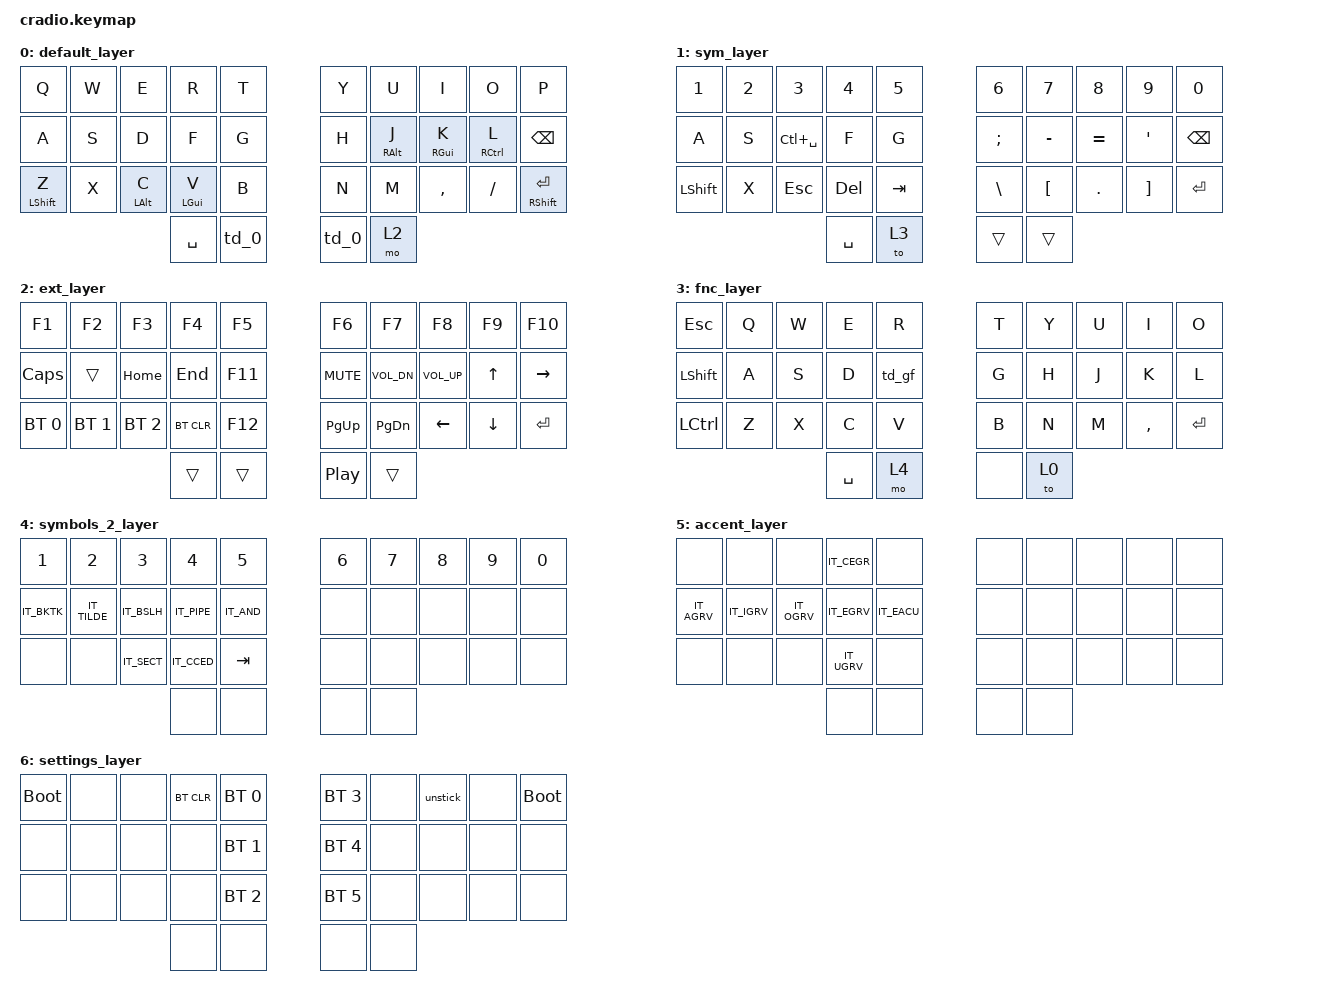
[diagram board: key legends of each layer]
/*
 * Copyright (c) 2020 The ZMK Contributors
 *
 * SPDX-License-Identifier: MIT
 */

#include <behaviors.dtsi>
#include "keymap_italian.h"
#include <dt-bindings/zmk/bt.h>
#include <dt-bindings/zmk/keys.h>

// Layer definitions

#define BASE 0
#define SYM 1
#define EXT 2
#define FNC 3
#define SYM2 4
#define ACCENT 5
#define SETTINGS 6

// -----------------

&mt {
    //  flavor = "tap-preferred";
    // tapping_term_ms = <200>;
};

&sk {
    ignore-modifiers;
};

/ {
    macros {
        // sometimes my device thinks a modifier is being held down
        // pressing all modifiers fixes it.

        unstick: unstick {
            label = "ZM_unstick";
            compatible = "zmk,behavior-macro";
            #binding-cells = <0>;
            bindings = <&kp LSHIFT &kp RSHIFT &kp LCTRL &kp RCTRL &kp LALT &kp RALT &kp LGUI &kp RGUI>;
        };
    };

    combos {
        compatible = "zmk,combos";

        // both right thumb keys
        // internal-left & external-right thumb keys
        // both left thumb keys

        left_1 {
            bindings = <&kp LEFT_BRACKET>;
            key-positions = <2 3>;
            timeout-ms = <30>;
        };

        right_1 {
            bindings = <&kp RBKT>;
            key-positions = <6 7>;
            timeout-ms = <30>;
        };

        left_2 {
            bindings = <&kp LEFT_PARENTHESIS>;
            key-positions = <12 13>;
            timeout-ms = <30>;
        };

        right_2 {
            bindings = <&kp RIGHT_PARENTHESIS>;
            key-positions = <16 17>;
            timeout-ms = <30>;
        };

        left_3 {
            bindings = <&kp LEFT_BRACE>;
            key-positions = <22 23>;
            timeout-ms = <30>;
        };

        right_3 {
            bindings = <&kp RIGHT_BRACE>;
            key-positions = <26 27>;
            timeout-ms = <30>;
        };

        minus {
            bindings = <&kp UNDER>;
            key-positions = <15 17>;
            timeout-ms = <30>;
        };

        lessthan {
            bindings = <&kp LESS_THAN>;
            key-positions = <25 27>;
            timeout-ms = <30>;
        };

        greater {
            bindings = <&kp GREATER_THAN>;
            key-positions = <25 28>;
            timeout-ms = <30>;
        };

        pipe {
            bindings = <&kp PIPE>;
            key-positions = <14 15>;
            timeout-ms = <30>;
        };

        backsplash {
            bindings = <&kp BACKSLASH>;
            key-positions = <4 5>;
            timeout-ms = <30>;
        };

        plus {
            bindings = <&kp PLUS>;
            key-positions = <15 18>;
            timeout-ms = <30>;
        };

        tab {
            bindings = <&kp TAB>;
            key-positions = <10 12 11>;
            timeout-ms = <30>;
        };

        tilde {
            bindings = <&kp TILDE>;
            key-positions = <5 6>;
        };

        grave {
            bindings = <&kp GRAVE>;
            key-positions = <3 4>;
        };

        semi {
            bindings = <&kp SEMI>;
            key-positions = <16 17 18>;
        };

        colon {
            bindings = <&kp COLON>;
            key-positions = <7 8 6>;
        };

        sqt {
            bindings = <&kp SQT>;
            key-positions = <17 18>;
        };

        dqt {
            bindings = <&kp DQT>;
            key-positions = <17 18 26>;
        };

        caps {
            bindings = <&kp CAPSLOCK>;
            key-positions = <11 18>;
        };
    };

    behaviors {
        ht: ht {
            compatible = "zmk,behavior-hold-tap";
            label = "HT";
            bindings = <&kp>, <&kp>;

            #binding-cells = <2>;
            tapping-term-ms = <200>;
            quick-tap-ms = <100>;
            global-quick-tap;
            flavor = "tap-preferred";
        };

        td_0: td_0 {
            compatible = "zmk,behavior-tap-dance";
            label = "TD_0";
            #binding-cells = <0>;
            bindings = <&mo 1>, <&kp LCTRL>, <&mo 3>;
        };

        td_gf: td_gf {
            compatible = "zmk,behavior-tap-dance";
            label = "TD_GF";
            #binding-cells = <0>;
            bindings = <&kp G>, <&kp F>;
        };
    };

    keymap {
        compatible = "zmk,keymap";

        // Base alpha layer

        default_layer {
            bindings = <
&kp Q             &kp W  &kp E           &kp R           &kp T    &kp Y  &kp U            &kp I            &kp O        &kp P
&kp A             &kp S  &kp D           &kp F           &kp G    &kp H  &ht RIGHT_ALT J  &ht RIGHT_GUI K  &ht RCTRL L  &kp BSPC
&ht LEFT_SHIFT Z  &kp X  &ht LEFT_ALT C  &ht LEFT_GUI V  &kp B    &kp N  &kp M            &kp COMMA        &kp FSLH     &ht RIGHT_SHIFT ENTER
                                         &kp SPACE       &td_0    &td_0  &mo 2
            >;
        };

        // Numbers and high frequency symbols

        sym_layer {
            bindings = <
&kp N1     &kp N2  &kp N3         &kp N4     &kp N5     &kp N6    &kp N7     &kp N8     &kp N9    &kp N0
&kp A      &kp S   &kp LC(SPACE)  &kp F      &kp G      &kp SEMI  &kp MINUS  &kp EQUAL  &kp SQT   &kp BSPC
&kp LSHFT  &kp X   &kp ESC        &kp DEL    &kp TAB    &kp BSLH  &kp LBKT   &kp DOT    &kp RBKT  &kp RET
                                  &kp SPACE  &to 3      &trans    &trans
            >;
        };

        // Main modifiers and arrow keys

        ext_layer {
            bindings = <
&kp F1        &kp F2        &kp F3        &kp F4      &kp F5     &kp F6      &kp F7         &kp F8        &kp F9        &kp F10
&kp CAPSLOCK  &trans        &kp HOME      &kp END     &kp F11    &kp C_MUTE  &kp C_VOL_DN   &kp C_VOL_UP  &kp UP_ARROW  &kp RIGHT
&bt BT_SEL 0  &bt BT_SEL 1  &bt BT_SEL 2  &bt BT_CLR  &kp F12    &kp PG_UP   &kp PAGE_DOWN  &kp LEFT      &kp DOWN      &kp ENTER
                                          &trans      &trans     &kp C_PP    &trans
            >;
        };

        // Function keys with modifiers

        fnc_layer {
            bindings = <
&kp ESC    &kp Q  &kp W  &kp E      &kp R     &kp T  &kp Y  &kp U  &kp I      &kp O
&kp LSHFT  &kp A  &kp S  &kp D      &td_gf    &kp G  &kp H  &kp J  &kp K      &kp L
&kp LCTRL  &kp Z  &kp X  &kp C      &kp V     &kp B  &kp N  &kp M  &kp COMMA  &kp RET
                         &kp SPACE  &mo 4     &none  &to 0
            >;
        };

        // Low frequency symbols.

        symbols_2_layer {
            bindings = <
&kp N1       &kp N2        &kp N3       &kp N4       &kp N5        &kp N6  &kp N7  &kp N8  &kp N9  &kp N0
&kp IT_BKTK  &kp IT_TILDE  &kp IT_BSLH  &kp IT_PIPE  &kp IT_AND    &none   &none   &none   &none   &none
&none        &none         &kp IT_SECT  &kp IT_CCED  &kp TAB       &none   &none   &none   &none   &none
                                        &none        &none         &none   &none
            >;
        };

        // Used to type regional accents.

        accent_layer {
            bindings = <
&none        &none        &none        &kp IT_CEGR  &none          &none  &none  &none  &none  &none
&kp IT_AGRV  &kp IT_IGRV  &kp IT_OGRV  &kp IT_EGRV  &kp IT_EACU    &none  &none  &none  &none  &none
&none        &none        &none        &kp IT_UGRV  &none          &none  &none  &none  &none  &none
                                       &none        &none          &none  &none
            >;
        };

        // Used to change the keyboard's settings.

        settings_layer {
            bindings = <
&bootloader  &none  &none  &bt BT_CLR  &bt BT_SEL 0    &bt BT_SEL 3  &none  &unstick  &none  &bootloader
&none        &none  &none  &none       &bt BT_SEL 1    &bt BT_SEL 4  &none  &none     &none  &none
&none        &none  &none  &none       &bt BT_SEL 2    &bt BT_SEL 5  &none  &none     &none  &none
                           &none       &none           &none         &none
            >;
        };
    };
};
